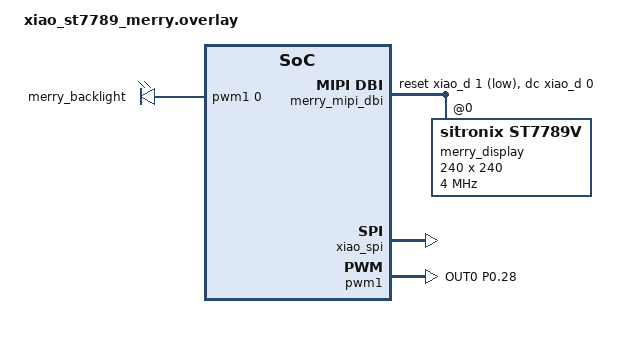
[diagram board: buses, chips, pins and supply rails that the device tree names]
/* SPDX-License-Identifier: MIT */

#include <dt-bindings/gpio/gpio.h>
#include <dt-bindings/pwm/pwm.h>

/ {
    chosen {
        zephyr,display = &merry_display;
        zmk,display-led = &merry_backlight;
    };

    aliases {
        merry-flash = &p25q16h;
        /* The XIAO board already supplies this CDC ACM interface. Reuse it
         * for pet uploads so the composite USB device contains one CDC
         * function alongside ZMK HID, rather than two competing ports.
         */
        merry-uart = &board_cdc_acm_uart;
    };

    merry_pwm_leds: pwmleds {
        compatible = "pwm-leds";

        merry_backlight: merry_backlight {
            pwms = <&pwm1 0 PWM_MSEC(1) PWM_POLARITY_NORMAL>;
        };
    };

    /* Zephyr 3.7+ routes ST7789V through a MIPI-DBI wrapper. The D/C polarity
     * is intentionally ACTIVE_HIGH here: the wrapper drives it low for a
     * command and high for pixel/parameter data.
     */
    merry_mipi_dbi: mipi_dbi {
        compatible = "zephyr,mipi-dbi-spi";
        dc-gpios = <&xiao_d 0 GPIO_ACTIVE_HIGH>;
        reset-gpios = <&xiao_d 1 GPIO_ACTIVE_LOW>;
        spi-dev = <&xiao_spi>;
        write-only;
        #address-cells = <1>;
        #size-cells = <0>;

        merry_display: st7789v@0 {
            compatible = "sitronix,st7789v";
            reg = <0>;
            /* The reference ZJY-IPS130-V2.0 driver uses 4 MHz. This remains
             * fast enough for the 160x174 sprite while leaving signal margin
             * for hand-soldered wiring.
             */
            mipi-max-frequency = <4000000>;
            /* This pinned Zephyr binding defines mipi-mode as an enum string,
             * not an integer macro as in older migration examples.
             */
            mipi-mode = "MIPI_DBI_MODE_SPI_4WIRE";
            /* ZJY-IPS130-V2.0 samples correctly only in SPI mode 3. These
             * properties add CPOL=1 and CPHA=1 to every command and pixel
             * transfer generated by the MIPI-DBI wrapper.
             */
            mipi-cpol;
            mipi-cpha;
            width = <240>;
            height = <240>;
            x-offset = <0>;
            y-offset = <0>;
            vcom = <0x19>;
            gctrl = <0x35>;
            vrhs = <0x12>;
            vdvs = <0x20>;
            mdac = <0x00>;
            gamma = <0x01>;
            colmod = <0x05>;
            lcm = <0x2c>;
            porch-param = [0c 0c 00 33 33];
            cmd2en-param = [5a 69 02 01];
            pwctrl1-param = [a4 a1];
            pvgam-param = [d0 04 0d 11 13 2b 3f 54 4c 18 0d 0b 1f 23];
            nvgam-param = [d0 04 0c 11 13 2c 3f 44 51 2f 1f 1f 20 23];
            ram-param = [00 f0];
            rgb-param = [cd 08 14];
        };
    };
};

&xiao_spi {
    status = "okay";
};

&pinctrl {
    merry_pwm1_default: merry_pwm1_default {
        group1 {
            psels = <NRF_PSEL(PWM_OUT0, 0, 28)>;
            nordic,invert;
        };
    };

    merry_pwm1_sleep: merry_pwm1_sleep {
        group1 {
            psels = <NRF_PSEL(PWM_OUT0, 0, 28)>;
            low-power-enable;
        };
    };
};

&pwm1 {
    status = "okay";
    pinctrl-0 = <&merry_pwm1_default>;
    pinctrl-1 = <&merry_pwm1_sleep>;
    pinctrl-names = "default", "sleep";
};
